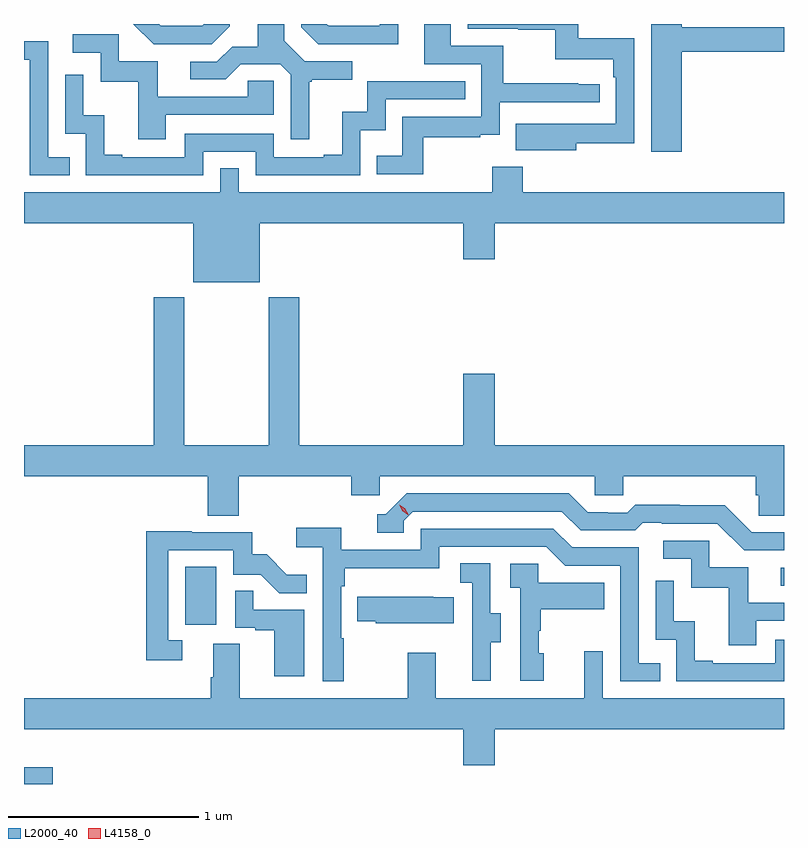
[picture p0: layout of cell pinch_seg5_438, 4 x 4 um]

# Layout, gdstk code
import gdstk
lib = gdstk.Library(unit=1e-6, precision=1e-09)
def R(c, l, rs):  # rectangles x0, y0, x1, y1
    for r in rs: c.add(gdstk.rectangle(r[:2], r[2:], *l))
def P(c, l, *ps):  # polygons
    for p in ps: c.add(gdstk.Polygon(p, *l))
L2000_40 = (2000, 40)
L4158_0 = (4158, 0)

pinch_seg5_438 = lib.new_cell('pinch_seg5_438')
R(pinch_seg5_438, L2000_40, [(905.951,869.793,906.101,869.881), (906.8,870.63,906.964,870.937), (909.933,870.837,909.951,870.93)])
P(pinch_seg5_438, L2000_40, [(909.412,873.646),(909.951,873.646),(909.951,873.775),(909.412,873.775),(909.412,873.793),(909.251,873.793),(909.251,873.12),(909.412,873.12)],
  [(908.053,873.198),(908.351,873.198),(908.351,873.209),(908.454,873.209),(908.454,873.381),(908.98,873.381),(908.98,873.477),(908.867,873.477),(908.867,873.482),(908.474,873.482),(908.474,873.678),(908.197,873.678),(908.197,873.793),(908.057,873.793),(908.057,873.582),(908.358,873.582),(908.358,873.306),(907.942,873.306),(907.942,873.1),(907.807,873.1),(907.807,873.003),(908.053,873.003)],
  [(907.453,873.489),(907.465,873.489),(907.465,873.5),(907.678,873.5),(907.678,873.597),(907.428,873.597),(907.321,873.704),(907.321,873.793),(907.181,873.793),(907.181,873.674),(907.046,873.674),(906.966,873.594),(906.825,873.594),(906.825,873.501),(907.012,873.501),(907.093,873.582),(907.299,873.582),(907.356,873.525),(907.356,873.186),(907.453,873.186)],
  [(908.857,873.166),(909.162,873.166),(909.162,873.718),(908.869,873.718),(908.869,873.793),(908.286,873.793),(908.286,873.768),(908.551,873.768),(908.551,873.763),(908.748,873.763),(908.748,873.608),(909.053,873.608),(909.053,873.512),(909.066,873.512),(909.066,873.267),(908.753,873.267),(908.753,873.268),(908.539,873.268),(908.539,873.128),(908.857,873.128)],
  [(907.921,873.793),(907.824,873.793),(907.824,873.783),(907.554,873.783),(907.544,873.793),(907.41,873.793),(907.41,873.777),(907.5,873.687),(907.716,873.687),(907.716,873.686),(907.921,873.686)],
  [(907.033,873.781),(907.033,873.793),(906.898,873.793),(906.888,873.783),(906.672,873.783),(906.662,873.793),(906.527,873.793),(906.633,873.687),(906.939,873.687)],
  [(906.062,873.793),(905.951,873.793),(905.951,873.792),(906.061,873.792)],
  [(906.697,873.315),(907.266,873.315),(907.266,873.495),(907.129,873.495),(907.129,873.411),(906.655,873.411),(906.655,873.597),(906.45,873.597),(906.45,873.738),(906.207,873.738),(906.207,873.642),(906.354,873.642),(906.354,873.489),(906.553,873.489),(906.553,873.186),(906.697,873.186)],
  [(906.191,873.093),(906.078,873.093),(906.078,873.702),(905.951,873.702),(905.951,873.606),(905.982,873.606),(905.982,872.997),(906.191,872.997)],
  [(906.894,873.12),(907.17,873.12),(907.17,872.997),(907.722,872.997),(907.722,873.233),(907.854,873.233),(907.854,873.396),(908.273,873.396),(908.273,873.492),(907.758,873.492),(907.758,873.331),(907.625,873.331),(907.625,873.106),(907.529,873.106),(907.529,873.093),(907.266,873.093),(907.266,873.216),(906.798,873.216),(906.798,873.093),(906.469,873.093),(906.469,873.106),(906.374,873.106),(906.374,873.314),(906.264,873.314),(906.264,873.526),(906.168,873.526),(906.168,873.216),(906.276,873.216),(906.276,872.997),(906.894,872.997)],
  [(907.192,872.744),(908.264,872.744),(908.264,872.556),(908.428,872.556),(908.428,872.744),(909.951,872.744),(909.951,872.908),(908.576,872.908),(908.576,873.043),(908.416,873.043),(908.416,872.908),(907.08,872.908),(907.08,873.035),(906.984,873.035),(906.984,872.908),(905.951,872.908),(905.951,872.744),(906.842,872.744),(906.842,872.435),(907.192,872.435)],
  [(907.082,871.412),(907.673,871.412),(907.673,871.314),(907.824,871.314),(907.824,871.412),(908.955,871.412),(908.955,871.314),(909.105,871.314),(909.105,871.412),(909.803,871.412),(909.803,871.314),(909.817,871.314),(909.817,871.204),(909.951,871.204),(909.951,871.576),(908.428,871.576),(908.428,871.951),(908.264,871.951),(908.264,871.576),(907.4,871.576),(907.4,872.356),(907.24,872.356),(907.24,871.576),(906.795,871.576),(906.795,872.356),(906.635,872.356),(906.635,871.576),(905.951,871.576),(905.951,871.412),(906.917,871.412),(906.917,871.204),(907.082,871.204)],
  [(909.951,871.119),(909.78,871.119),(909.638,871.261),(909.402,871.261),(909.402,871.264),(909.169,871.264),(909.127,871.221),(909.024,871.221),(909.024,871.224),(908.917,871.224),(908.818,871.323),(907.965,871.323),(907.854,871.212),(907.811,871.212),(907.811,871.116),(907.95,871.116),(907.95,871.179),(907.998,871.227),(908.781,871.227),(908.88,871.128),(909.169,871.128),(909.208,871.167),(909.307,871.167),(909.307,871.164),(909.6,871.164),(909.741,871.023),(909.951,871.023)],
  [(907.633,870.56),(907.62,870.56),(907.62,870.833),(907.64,870.833),(907.64,870.929),(908.136,870.929),(908.136,871.041),(908.7,871.041),(908.799,870.942),(909.09,870.942),(909.09,870.333),(909.299,870.333),(909.299,870.429),(909.186,870.429),(909.186,871.038),(908.836,871.038),(908.737,871.137),(908.04,871.137),(908.04,871.026),(907.622,871.026),(907.622,871.142),(907.383,871.142),(907.383,871.04),(907.524,871.04),(907.524,870.333),(907.633,870.333)],
  [(906.784,870.549),(906.711,870.549),(906.711,871.023),(907.053,871.023),(907.053,870.894),(907.197,870.894),(907.295,870.796),(907.439,870.796),(907.439,870.895),(907.335,870.895),(907.228,871.002),(907.152,871.002),(907.152,871.119),(906.833,871.119),(906.833,871.124),(906.595,871.124),(906.595,870.444),(906.784,870.444)],
  [(909.805,870.651),(909.951,870.651),(909.951,870.747),(909.763,870.747),(909.763,870.933),(909.558,870.933),(909.558,871.074),(909.315,871.074),(909.315,870.978),(909.462,870.978),(909.462,870.825),(909.661,870.825),(909.661,870.522),(909.805,870.522)],
  [(908.407,870.538),(908.461,870.538),(908.461,870.693),(908.406,870.693),(908.406,870.956),(908.247,870.956),(908.247,870.853),(908.31,870.853),(908.31,870.549),(908.309,870.549),(908.309,870.336),(908.407,870.336)],
  [(908.686,870.48),(908.661,870.48),(908.661,870.599),(908.671,870.599),(908.671,870.713),(909.005,870.713),(909.005,870.853),(908.658,870.853),(908.658,870.951),(908.511,870.951),(908.511,870.827),(908.562,870.827),(908.562,870.336),(908.686,870.336)],
  [(909.951,870.552),(909.906,870.552),(909.906,870.429),(909.577,870.429),(909.577,870.442),(909.482,870.442),(909.482,870.65),(909.372,870.65),(909.372,870.862),(909.276,870.862),(909.276,870.552),(909.384,870.552),(909.384,870.333),(909.951,870.333)],
  [(907.426,870.711),(907.157,870.711),(907.157,870.809),(907.062,870.809),(907.062,870.615),(907.169,870.615),(907.169,870.603),(907.268,870.603),(907.268,870.36),(907.426,870.36)],
  [(908.213,870.775),(908.105,870.775),(908.105,870.778),(907.705,870.778),(907.705,870.649),(907.803,870.649),(907.803,870.638),(908.213,870.638)],
  [(908.428,870.08),(909.951,870.08),(909.951,870.244),(908.997,870.244),(908.997,870.493),(908.9,870.493),(908.9,870.244),(908.119,870.244),(908.119,870.484),(907.972,870.484),(907.972,870.244),(907.087,870.244),(907.087,870.53),(906.947,870.53),(906.947,870.356),(906.935,870.356),(906.935,870.244),(905.951,870.244),(905.951,870.08),(908.264,870.08),(908.264,869.892),(908.428,869.892)])
P(pinch_seg5_438, L4158_0, [(907.972,871.211),(907.941,871.231),(907.925,871.264),(907.925,871.264),(907.926,871.264),(907.956,871.244),(907.973,871.212),(907.973,871.211)])

lib.write_gds('pinch_seg5_438.gds')
